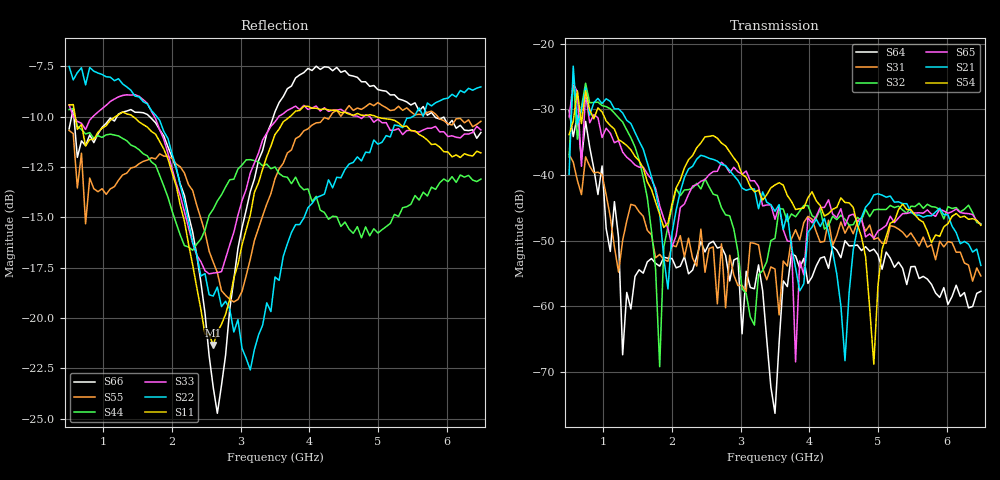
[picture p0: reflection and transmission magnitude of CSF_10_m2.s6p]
!Keysight Technologies,M9804A,MY58100912,A.14.10.03
!Date: Thursday, April 27, 2023 10:28:33
!Correction: S11(C  6-Port  )
!S12(C  6-Port  )
!S13(C  6-Port  )
!S14(C  6-Port  )
!S15(C  6-Port  )
!S16(C  6-Port  )
!S21(C  6-Port  )
!S22(C  6-Port  )
!S23(C  6-Port  )
!S24(C  6-Port  )
!S25(C  6-Port  )
!S26(C  6-Port  )
!S31(C  6-Port  )
!S32(C  6-Port  )
!S33(C  6-Port  )
!S34(C  6-Port  )
!S35(C  6-Port  )
!S36(C  6-Port  )
!S41(C  6-Port  )
!S42(C  6-Port  )
!S43(C  6-Port  )
!S44(C  6-Port  )
!S45(C  6-Port  )
!S46(C  6-Port  )
!S51(C  6-Port  )
!S52(C  6-Port  )
!S53(C  6-Port  )
!S54(C  6-Port  )
!S55(C  6-Port  )
!S56(C  6-Port  )
!S61(C  6-Port  )
!S62(C  6-Port  )
!S63(C  6-Port  )
!S64(C  6-Port  )
!S65(C  6-Port  )
!S66(C  6-Port  )
!S6P File: Measurement: :
# Hz S  RI  R 50
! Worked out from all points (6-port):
!   101 points, 500 MHz to 6.5 GHz, reference 50 ohm
!   strongest paths, dB at 500 MHz, 2 GHz, 3.5 GHz, 5 GHz, 6.5 GHz:
!     S54: -33.9, -44.4, -41.5, -56.8, -47.7
!     S21: -39.9, -48.8, -45.5, -42.9, -53.8
!     S65: -31.2, -50.9, -46.7, -48.5, -47.5
!     S32: -37.3, -44.8, -49.6, -45.2, -47.4
!     S31: -36.9, -50.7, -54.3, -49.6, -55.4
!     S64: -30.2, -52.7, -76.3, -52.1, -57.7
!   lowest |S11| = -21.3 dB at 2.6 GHz (marker M1), VSWR 1.19, Z = 42.4 + j2.2 ohm
!   |S11| at or under -10 dB: 589.3 MHz to 1.174 GHz (585.2 MHz wide, 66.4 % of centre); 1.435 GHz to 3.716 GHz (2.281 GHz wide, 88.6 % of centre); 4.976 GHz to end of sweep
